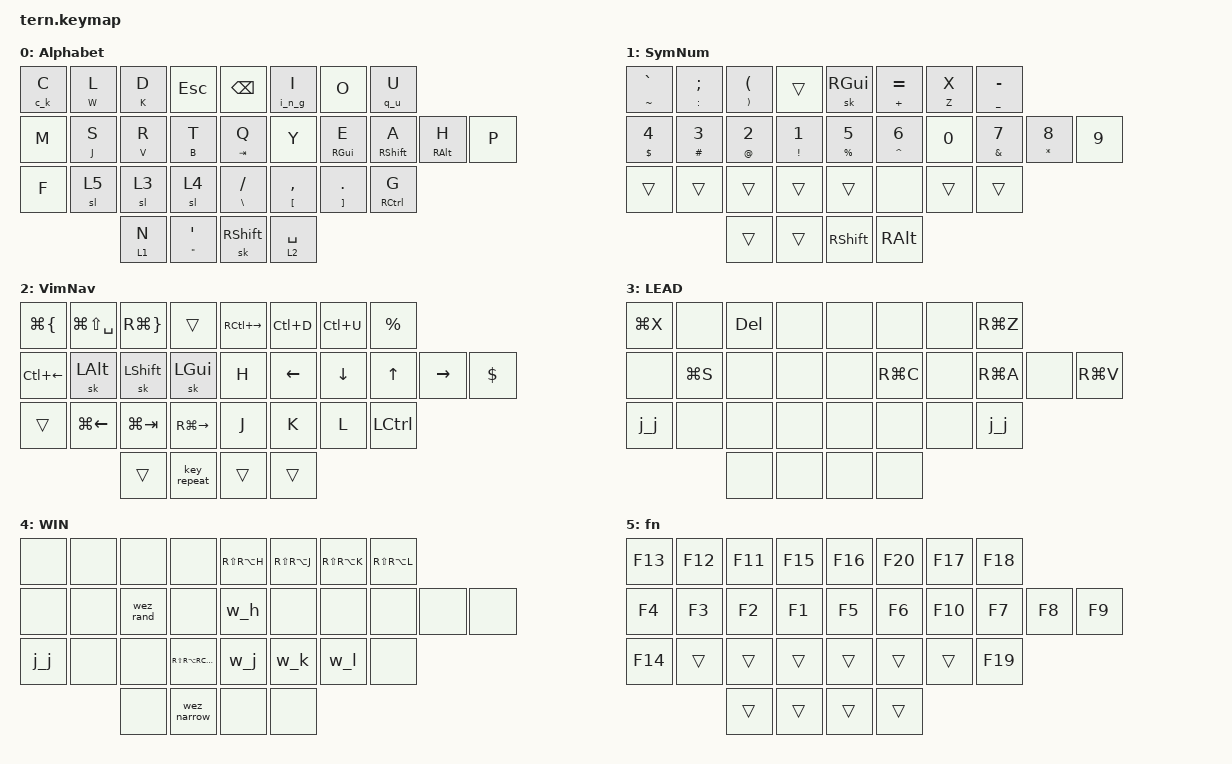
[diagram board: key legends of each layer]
/*
 * Copyright (c) 2022 The ZMK Contributors
 *
 * SPDX-License-Identifier: MIT
 */

#include <behaviors.dtsi>
#include <dt-bindings/zmk/bt.h>
#include <dt-bindings/zmk/keys.h>

/*
 *                       UNIVERSAL KEY POSITION NAMES
 *          alphas & combos should be limited to 3x5+2 common core
 *         ╭─────────────────╮                  ╭─────────────────╮
 *     ╭───╯   0   1   2   3 │                  │  4   5   6   7  ╰───╮
 *     │   8   9  10  11  12 │                  │ 13  14  15  16  17  |
 *     |  18  19  20  21     │                  │     22  23  24  25  |
 *     ╰────────────╮ 26  27 |                  | 28  29 ╭────────────╯
 *                  ╰────────╯                  ╰────────╯
 *
 */

#define DEF 0
#define NAV 1
#define SYM 2
#define ADJ 3
#define EXTRA 4

/ {
    behaviors {
        htr: hold_tap_right {
            compatible = "zmk,behavior-hold-tap";
            label = "HOLD_TAP_RIGHT";
            #binding-cells = <2>;
            tapping-term-ms = <350>;
            quick_tap_ms = <0>;
            flavor = "balanced";
            bindings = <&kp>, <&kp>;

            quick-tap-ms = <175>;
            global-quick-tap;
            require-prior-idle-ms = <1000>;
            hold-trigger-on-release;
            hold-trigger-key-positions = <1 13 25 26 14 2 3 15 27 28 16 4 5 17 29>;
        };

        ht: hold_tap {
            compatible = "zmk,behavior-hold-tap";
            label = "HOLD_TAP";
            #binding-cells = <2>;
            tapping-term-ms = <280>;
            quick_tap_ms = <0>;
            flavor = "tap-preferred";
            bindings = <&kp>, <&kp>;

            quick-tap-ms = <175>;
            global-quick-tap;
            require-prior-idle-ms = <150>;
            hold-trigger-on-release;
        };

        htrs: hold_tap_right_short {
            compatible = "zmk,behavior-hold-tap";
            label = "HOLD_TAP_RIGHT_SHORT";
            #binding-cells = <2>;
            tapping-term-ms = <500>;
            quick_tap_ms = <0>;
            flavor = "balanced";
            bindings = <&kp>, <&kp>;

            quick-tap-ms = <135>;
            global-quick-tap;
            require-prior-idle-ms = <1000>;
            hold-trigger-on-release;
            hold-trigger-key-positions = <1 13 25 26 14 2 3 15 27 28 16 4 5 17 29>;
        };

        ht_qu: ht_qu {
            compatible = "zmk,behavior-hold-tap";
            label = "HT_QU";
            #binding-cells = <2>;
            tapping-term-ms = <280>;
            quick_tap_ms = <0>;
            flavor = "tap-preferred";
            bindings = <&q_u>, <&kp>;

            quick-tap-ms = <175>;
            global-quick-tap;
            require-prior-idle-ms = <0>;
            hold-trigger-on-release;
        };

        ht_ck: ht_ck {
            compatible = "zmk,behavior-hold-tap";
            label = "HT_CK";
            #binding-cells = <2>;
            tapping-term-ms = <200>;
            quick_tap_ms = <0>;
            flavor = "tap-preferred";
            bindings = <&c_k>, <&kp>;

            quick-tap-ms = <175>;
            global-quick-tap;
            require-prior-idle-ms = <0>;
            hold-trigger-on-release;
        };

        ht_npi: holdtap_noprioridle {
            compatible = "zmk,behavior-hold-tap";
            label = "HT_NPI";
            #binding-cells = <2>;
            tapping-term-ms = <200>;
            quick_tap_ms = <0>;
            flavor = "tap-preferred";
            bindings = <&kp>, <&kp>;

            quick-tap-ms = <175>;
            global-quick-tap;
            require-prior-idle-ms = <0>;
            hold-trigger-on-release;
        };

        ht_ing: ht_ing {
            compatible = "zmk,behavior-hold-tap";
            label = "HT_ING";
            #binding-cells = <2>;
            tapping-term-ms = <200>;
            quick_tap_ms = <0>;
            flavor = "tap-preferred";
            bindings = <&i_n_g>, <&kp>;

            quick-tap-ms = <175>;
            global-quick-tap;
            require-prior-idle-ms = <0>;
            hold-trigger-on-release;
        };
    };

    combos {
        compatible = "zmk,combos";

        caps_word {
            bindings = <&caps_word>;
            key-positions = <17 18>;
            require-prior-idle-ms = <1000>;
        };

        ret {
            bindings = <&kp RET>;
            key-positions = <7 8>;
            timeout-ms = <200>;
            require-prior-idle-ms = <500>;
        };
    };

    //

    macros {
        q_u: q_u {
            compatible = "zmk,behavior-macro";
            #binding-cells = <0>;
            bindings = <&kp Q &kp U>;
            label = "Q_U";
            wait-ms = <5>;
        };

        wez_narrow: wez_narrow {
            compatible = "zmk,behavior-macro";
            #binding-cells = <0>;
            bindings = <&kp RA(RC(RG(RS(SPACE)))) &kp N9>;
            label = "WEZ_NARROW";
            wait-ms = <5>;
        };

        wez_rand: wez_rand {
            compatible = "zmk,behavior-macro";
            #binding-cells = <0>;
            bindings = <&kp RA(RC(RG(RS(SPACE)))) &kp R>;
            label = "WEZ_RAND";
            wait-ms = <5>;
        };

        c_k: c_k {
            compatible = "zmk,behavior-macro";
            #binding-cells = <0>;
            bindings = <&kp C &kp K>;
            label = "C_K";
        };

        j_j: j_j {
            compatible = "zmk,behavior-macro";
            #binding-cells = <0>;
            bindings = <&kp J &kp J>;
            label = "J_J";
        };

        i_n_g: i_n_g {
            compatible = "zmk,behavior-macro";
            #binding-cells = <0>;
            bindings = <&kp I &kp N &kp G>;
            label = "I_N_G";
        };

        w_h: w_h {
            compatible = "zmk,behavior-macro";
            #binding-cells = <0>;
            bindings = <&kp SPACE &kp W &kp H>;
            label = "W_H";
            wait-ms = <15>;
            tap-ms = <15>;
        };

        w_j: w_j {
            compatible = "zmk,behavior-macro";
            #binding-cells = <0>;
            bindings = <&kp SPACE &kp W &kp J>;
            label = "W_J";
            wait-ms = <15>;
            tap-ms = <15>;
        };

        w_k: w_k {
            compatible = "zmk,behavior-macro";
            #binding-cells = <0>;
            bindings = <&kp SPACE &kp W &kp K>;
            label = "W_K";
            wait-ms = <15>;
            tap-ms = <15>;
        };

        w_l: w_l {
            compatible = "zmk,behavior-macro";
            #binding-cells = <0>;
            bindings = <&kp SPACE &kp W &kp L>;
            label = "W_L";
            wait-ms = <15>;
            tap-ms = <15>;
        };
    };

    keymap {
        compatible = "zmk,keymap";

        ALPHA {
            display-name = "Alphabet";

/*
 *         ╭─────────────────╮   ╭─────────────────╮
 *     ╭───╯   c   l  d  esc │   │ bksp i   o   u  ╰───╮
 *     │   m   s   r  t   q  │   │  y   e   a   h   p  |
 *     |   f  fn cmd  win    │   │      /   ,   .   g  |
 *     ╰────────────╮ n   "  |   | sft spc╭────────────╯
 *                  ╰────────╯   ╰────────╯
 */

            bindings = <
&ht_ck 0 C   &ht_npi W L  &ht_npi K D  &kp ESCAPE                   &kp BSPC         &ht_ing 0 I              &kp O                   &ht_qu 0 U
&kp M  &ht_npi J S  &ht_npi V R  &ht_npi B T  &ht_npi TAB Q                &kp Y            &htr RGUI E              &htrs RIGHT_SHIFT A     &htr RALT H            &kp P
&kp F  &sl 5        &sl 3        &sl 4                        &ht_npi BACKSLASH SLASH  &ht LEFT_BRACKET COMMA  &ht RIGHT_BRACKET DOT  &htr RCTRL G
                            &lt 1 N      &ht_npi DOUBLE_QUOTES SQT    &sk RIGHT_SHIFT  &lt 2 SPACE
            >;

            label = "Alphabet";
        };

        SYMNUM {
            display-name = "SymNum";

            bindings = <
&ht TILDE GRAVE    &ht COLON SEMICOLON   &ht RIGHT_PARENTHESIS LEFT_PARENTHESIS  &trans            &sk RGUI            &ht PLUS EQUAL  &ht_npi Z X       &ht UNDERSCORE MINUS
&ht DOLLAR NUMBER_4  &ht HASH NUMBER_3  &ht AT_SIGN NUMBER_2  &ht EXCLAMATION NUMBER_1                &ht PERCENT N5    &ht CARET NUMBER_6  &kp N0          &ht AMPERSAND N7  &ht ASTERISK N8       &kp N9
&trans               &trans             &trans                &trans                                  &trans            &none               &trans          &trans
                                                &trans    &trans                                          &kp RIGHT_SHIFT     &kp RIGHT_ALT
            >;

            label = "SymNum";
        };

        VIMNAV {
            display-name = "VimNav";

            bindings = <
&kp LG(LEFT_BRACE)  &kp LG(LS(SPACE))  &kp RG(RIGHT_BRACE)  &trans           &kp RC(RIGHT)          &kp LC(D)       &kp LC(U)     &kp PERCENT
&kp LC(LEFT_ARROW)  &sk LEFT_ALT        &sk LEFT_SHIFT     &sk LEFT_GUI             &kp H &kp LEFT_ARROW  &kp DOWN_ARROW  &kp UP_ARROW  &kp RIGHT_ARROW  &kp DOLLAR
&trans              &kp LG(LEFT_ARROW)  &kp LG(TAB)        &kp RG(RIGHT_ARROW)           &kp J           &kp K         &kp L            &kp LCTRL
                                                &trans   &key_repeat                  &trans          &trans
            >;

            label = "VimNav";
        };

        LEADER {
            bindings = <
&kp LG(X)  &none  &kp DELETE  &none    &none      &none  &none      &kp RG(Z)
&none  &kp LG(S)  &none  &none       &none    &kp RG(C)  &none  &kp RG(A)  &none      &kp RG(V)
&j_j   &none      &none       &none      &none  &none      &none      &j_j
                         &none  &none             &none  &none
            >;

            label = "LEAD";
        };

        Window {
            bindings = <
&none  &none      &none   &none                       &kp RS(RA(H))  &kp RS(RA(J))  &kp RS(RA(K))  &kp RS(RA(L))
&none  &none  &wez_rand  &none                      &w_h    &none          &none          &none          &none          &none
&j_j   &none  &none      &kp RS(RA(RC(RG(SPACE))))             &w_j           &w_k           &w_l           &none
                     &none      &wez_narrow                          &none          &none
            >;

            label = "WIN";
        };

        Fn {
            bindings = <
&kp F13  &kp F12  &kp F11  &kp F15    &kp F16  &kp F20  &kp F17  &kp F18
&kp F4   &kp F3   &kp F2   &kp F1   &kp F5     &kp F6   &kp F10  &kp F7   &kp F8   &kp F9
&kp F14  &trans   &trans   &trans     &trans   &trans   &trans   &kp F19
                          &trans   &trans           &trans   &trans
            >;

            label = "fn";
        };
    };

    conditional_layers { compatible = "zmk,conditional-layers"; };
};
